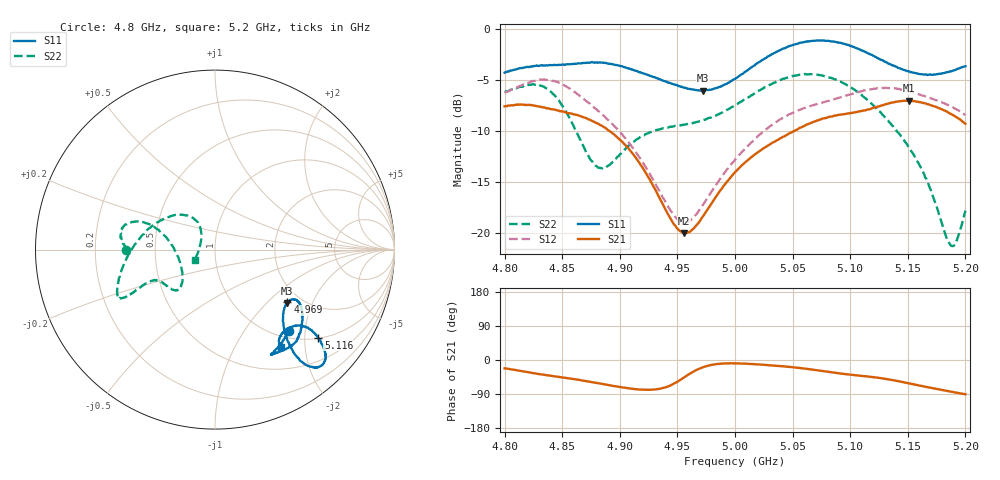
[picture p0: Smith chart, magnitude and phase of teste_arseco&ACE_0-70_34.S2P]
! Network Analyzer HP8722D
! Hewlett-Packard
! Data name: Linha & Wilkinson
! Saver's name: Rodrigo Anjos
! Comments: Teste da utilização de aquisição
! continua pelo VNA HP8722D
! Time and date: 8/5/2025 13:02
!  Frequency  S11  S21  S12  S22
# HZ  S  MA R 50
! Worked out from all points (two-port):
!   401 points, 4.8 GHz to 5.2 GHz, reference 50 ohm
!   highest |S21| = -7.04 dB at 5.151 GHz (marker M1); lowest = -20.0 dB at 4.956 GHz (marker M2)
!   |S21| within 3 dB of the highest: start of sweep to 4.891 GHz; 5.051 GHz to end of sweep
!   lowest |S11| = -6.0 dB at 4.972 GHz (marker M3), VSWR 2.99, Z = 83.3 - j66.3 ohm
!   |S11| at or under -10 dB: nowhere
!   |S22| runs from -21.3 to -4.4 dB; largest |S21 - S12| = 0.95
!   S11 on the Smith chart (normalised r, x): 4.8 GHz: 1.14, -1.64; 4.969 GHz: 1.70, -1.33; 5.116 GHz: 1.02, -2.33; 5.2 GHz: 0.82, -1.57
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4.8e9  0.6104 -47.7  0.4173 -22.0  0.4869 -175.9  0.4944 -179.9
4.823e9  0.6544 -59.3  0.4234 -33.8  0.552 175.9  0.5312 170.1
4.836e9  0.6634 -61.7  0.4088 -39.7  0.5624 168.2  0.5117 164.1
4.85e9  0.6698 -60.1  0.3935 -45.6  0.536 159.0  0.4206 159.0
4.867e9  0.679 -54.9  0.3716 -54.0  0.4627 150.9  0.2747 166.8
4.886e9  0.684 -48.5  0.3302 -63.8  0.3756 144.1  0.2089 -158.4
4.91e9  0.6339 -40.0  0.2494 -75.6  0.2668 137.6  0.2752 -133.5
4.934e9  0.5674 -33.1  0.1499 -76.4  0.162 141.1  0.3214 -135.6
4.956e9  0.5151 -32.7  0.09978 -45.6  0.1121 172.6  0.3388 -144.7
4.969e9  0.4988 -35.9  0.1132 -22.9  0.1291 -164.8  0.3526 -149.9
4.972e9  0.4985 -36.9  0.1202 -19.1  0.1368 -161.1  0.3564 -150.8
5e9  0.5685 -47.8  0.198 -9.0  0.2285 -146.8  0.4214 -153.9
5.038e9  0.7822 -52.5  0.2872 -15.9  0.3572 -147.8  0.5575 -152.0
5.067e9  0.8735 -48.4  0.3481 -25.2  0.4218 -154.5  0.5997 -155.1
5.088e9  0.8616 -44.4  0.3771 -34.1  0.4554 -160.0  0.5618 -162.4
5.116e9  0.7566 -40.4  0.4028 -43.8  0.5045 -172.1  0.4429 175.5
5.134e9  0.6743 -40.2  0.4322 -51.5  0.5127 177.4  0.348 153.2
5.151e9  0.6205 -43.3  0.4447 -61.6  0.4946 167.7  0.2625 132.5
5.168e9  0.5963 -49.2  0.4271 -72.5  0.4608 160.4  0.1728 122.8
5.187e9  0.6193 -55.0  0.3841 -83.3  0.4178 153.6  0.08724 158.6
5.192e9  0.6334 -55.7  0.3695 -86.0  0.4045 152.1  0.09032 -177.9
5.2e9  0.6561 -55.7  0.3424 -90.5  0.378 149.5  0.1283 -152.3
